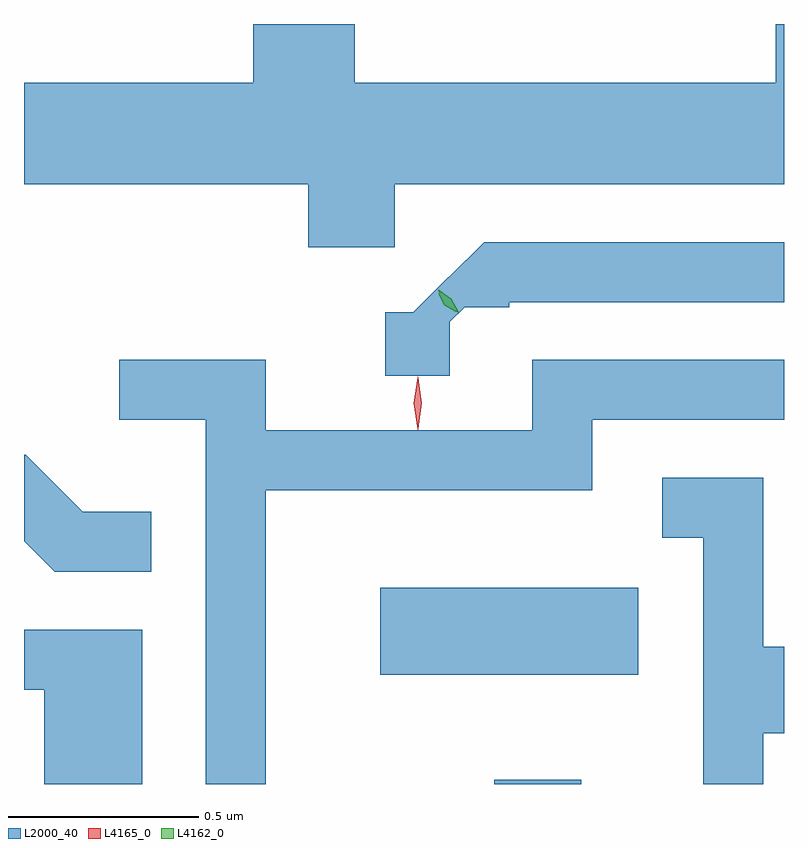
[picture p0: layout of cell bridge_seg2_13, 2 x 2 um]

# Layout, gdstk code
import gdstk
lib = gdstk.Library(unit=1e-6, precision=1e-09)
def R(c, l, rs):  # rectangles x0, y0, x1, y1
    for r in rs: c.add(gdstk.rectangle(r[:2], r[2:], *l))
def P(c, l, *ps):  # polygons
    for p in ps: c.add(gdstk.Polygon(p, *l))
L2000_40 = (2000, 40)
L4162_0 = (4162, 0)
L4165_0 = (4165, 0)

bridge_seg2_13 = lib.new_cell('bridge_seg2_13')
R(bridge_seg2_13, L2000_40, [(1904.021,1073.378,1904.249,1073.389), (1903.721,1073.666,1904.399,1073.894)])
P(bridge_seg2_13, L2000_40, [(1903.759,1074.956),(1904.783,1074.956),(1904.783,1075.378),(1904.761,1075.378),(1904.761,1075.224),(1903.654,1075.224),(1903.654,1075.378),(1903.386,1075.378),(1903.386,1075.224),(1902.783,1075.224),(1902.783,1074.956),(1903.531,1074.956),(1903.531,1074.791),(1903.759,1074.791)],
  [(1903.904,1074.594),(1903.943,1074.633),(1904.06,1074.633),(1904.06,1074.646),(1904.783,1074.646),(1904.783,1074.804),(1903.994,1074.804),(1903.9,1074.71),(1903.899,1074.711),(1903.807,1074.619),(1903.733,1074.619),(1903.733,1074.453),(1903.904,1074.453)],
  [(1903.419,1074.151),(1904.279,1074.151),(1904.279,1074.336),(1904.783,1074.336),(1904.783,1074.494),(1904.121,1074.494),(1904.121,1074.309),(1903.419,1074.309),(1903.419,1074.494),(1903.033,1074.494),(1903.033,1074.336),(1903.261,1074.336),(1903.261,1073.378),(1903.419,1073.378)],
  [(1903.118,1074.094),(1902.937,1074.094),(1902.787,1074.244),(1902.783,1074.244),(1902.783,1074.017),(1902.864,1073.936),(1903.118,1073.936)],
  [(1904.729,1073.511),(1904.783,1073.511),(1904.783,1073.739),(1904.729,1073.739),(1904.729,1074.184),(1904.463,1074.184),(1904.463,1074.026),(1904.571,1074.026),(1904.571,1073.378),(1904.729,1073.378)],
  [(1903.094,1073.784),(1902.783,1073.784),(1902.783,1073.626),(1902.836,1073.626),(1902.836,1073.378),(1903.094,1073.378)])
P(bridge_seg2_13, L4162_0, [(1903.926,1074.618),(1903.892,1074.642),(1903.873,1074.678),(1903.873,1074.679),(1903.874,1074.679),(1903.907,1074.655),(1903.927,1074.619),(1903.927,1074.618)],
  [(1903.919,1074.621),(1903.889,1074.638),(1903.874,1074.668),(1903.874,1074.669),(1903.874,1074.669),(1903.904,1074.652),(1903.919,1074.622),(1903.919,1074.621)])
P(bridge_seg2_13, L4165_0, [(1903.819,1074.31),(1903.819,1074.311),(1903.809,1074.38),(1903.819,1074.449),(1903.819,1074.45),(1903.82,1074.449),(1903.829,1074.38),(1903.82,1074.311)],
  [(1903.82,1074.313),(1903.82,1074.314),(1903.81,1074.38),(1903.82,1074.446),(1903.82,1074.447),(1903.821,1074.446),(1903.83,1074.38),(1903.821,1074.314)])

lib.write_gds('bridge_seg2_13.gds')
